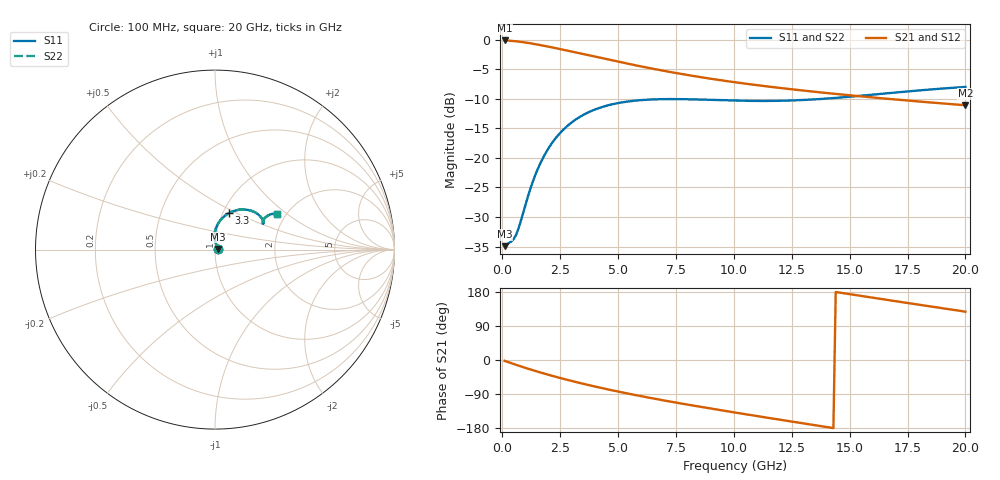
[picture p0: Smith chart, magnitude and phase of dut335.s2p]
! Touchstone file exported from HFSS 2024.1.0
!  File:  C:/UserFiles/LocalFiles/RDL_TSV_Batchsim/temp_RDL_TSV_335_1779632951.aedt
!  Generated:  10:42:56 PM May 24, 2026
!  Design:  RDL_TSV
!  Project:  temp_RDL_TSV_335_1779632951
!  Setup:  Setup1
!  Solution:  Sweep
! Variables:
!  dtsv = 14.42um
!  hbump = 3um
!  htsv = 64.08um
!  ldown = 646.31um
!  lrdl = 364.31um
!  p = 40
!  p1 = 58.78um
!  rhole = 10um
!  subl = 3396.17um
!  t = 450um
!  tdown = 3.64um
!  trdl = 3.85um
!  viad = 10um
!  wdown = 21.82um
!  wrdl = 14.99um
!  xbump = 18um
# GHz S MA R 50.000000
! Terminal data exported
! Port[1] = TM1_1_T1
! Port[2] = TM1_4_T1
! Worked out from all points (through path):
!   200 points, 100 MHz to 20 GHz, reference 50 ohm
!   highest |S21| = -0.16 dB at 100 MHz (marker M1); lowest = -11.1 dB at 20 GHz (marker M2)
!   group delay of S21, straight-line fit = 30.2 ps
!   lowest |S11| = -34.9 dB at 100 MHz (marker M3), VSWR 1.04, Z = 51.8 + j0.337 ohm
!   |S11| at or under -10 dB: start of sweep to 13.96 GHz
!   |S22| runs from -34.9 to -8.0 dB; largest |S21 - S12| = 5.5e-14
!   S11 on the Smith chart (normalised r, x): 100 MHz: 1.04, +0.01; 3.3 GHz: 1.07, +0.46; 20 GHz: 1.79, +0.85
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0.1  0.01792 10.5  0.9817 -2.2  0.9817 -2.2  0.01792 10.5
! Gamma 0 0 0 0
! Port Impedance 50 0 50 0
0.4  0.01973 37.4  0.9739 -8.6  0.9739 -8.6  0.01973 37.4
0.6  0.02246 58.0  0.9657 -12.8  0.9657 -12.8  0.02246 58.0
0.7  0.02527 67.7  0.9608 -14.8  0.9608 -14.8  0.02527 67.7
1.3  0.06148 91.8  0.9229 -26.6  0.9229 -26.6  0.0615 91.8
1.6  0.0862 91.5  0.9006 -32.1  0.9006 -32.1  0.08623 91.5
1.9  0.1121 88.6  0.8774 -37.4  0.8774 -37.4  0.1121 88.6
2.5  0.1624 80.3  0.8301 -47.5  0.8301 -47.5  0.1624 80.3
3.3  0.2189 68.8  0.768 -59.9  0.768 -59.9  0.219 68.8
3.5  0.2307 66.1  0.753 -62.9  0.753 -62.9  0.2308 66.1
4.2  0.2644 57.4  0.7025 -72.8  0.7025 -72.8  0.2646 57.4
5.1  0.2926 48.3  0.6435 -84.6  0.6435 -84.6  0.2928 48.3
5.9  0.3064 41.8  0.5971 -94.3  0.5971 -94.3  0.3066 41.8
6.8  0.3129 36.3  0.5516 -104.7  0.5516 -104.7  0.3132 36.3
8.4  0.3114 30.2  0.4863 -121.9  0.4863 -121.9  0.3117 30.2
10.1  0.3045 28.1  0.4339 -139.1  0.4339 -139.1  0.3049 28.0
11.7  0.3028 28.9  0.3957 -154.8  0.3957 -154.8  0.3032 28.8
13.4  0.3112 30.9  0.3631 -171.1  0.3631 -171.1  0.3114 30.7
15  0.3283 32.4  0.3377 173.7  0.3377 173.7  0.3283 32.3
16.7  0.3522 32.8  0.3146 157.8  0.3146 157.8  0.3521 32.6
18.3  0.3756 32.0  0.2957 143.1  0.2957 143.1  0.3754 31.8
20  0.3972 30.1  0.2784 127.6  0.2784 127.6  0.3968 29.9
